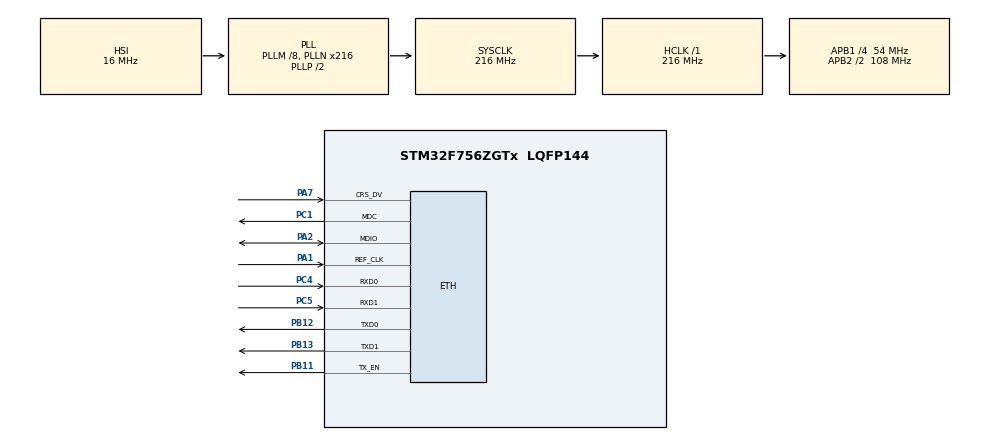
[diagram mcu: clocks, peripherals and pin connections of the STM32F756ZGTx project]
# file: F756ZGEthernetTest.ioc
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CORTEX_M7.CPU_DCache=Enabled
CORTEX_M7.CPU_ICache=Enabled
CORTEX_M7.PREFETCH_ENABLE=1
ETH.MediaInterface=HAL_ETH_RMII_MODE
LWIP.BSP.number=1
LWIP.GATEWAY_ADDRESS=192.168.010.001
LWIP.IP_ADDRESS=192.168.010.100
LWIP.LWIP_DHCP=0
LWIP.MEM_SIZE=10*1024
LWIP.NETMASK_ADDRESS=255.255.255.000
LWIP.Version=v2.1.2_Cube
LWIP0.BSP.STBoard=false
LWIP0.BSP.api=BSP_COMPONENT_DRIVER
LWIP0.BSP.component=LAN8742
LWIP0.BSP.instance=LAN8742
LWIP0.BSP.name=Driver_PHY
LWIP0.BSP.semaphore=S_LAN8742
LWIP0.BSP.solution=LAN8742
Mcu.Family=STM32F7
Mcu.Name=STM32F756ZGTx
Mcu.Package=LQFP144
NVIC.ETH_IRQn=true\:0\:0\:false\:false\:true\:true\:true\:true
NVIC.PriorityGroup=NVIC_PRIORITYGROUP_4
NVIC.TIM6_DAC_IRQn=true\:0\:0\:false\:false\:true\:true\:true\:true
PA1.Mode=RMII
PA1.Signal=ETH_REF_CLK
PA2.Mode=RMII
PA2.Signal=ETH_MDIO
PA7.Mode=RMII
PA7.Signal=ETH_CRS_DV
PB11.Mode=RMII
PB11.Signal=ETH_TX_EN
PB12.Mode=RMII
PB12.Signal=ETH_TXD0
PB13.Mode=RMII
PB13.Signal=ETH_TXD1
PC1.Mode=RMII
PC1.Signal=ETH_MDC
PC4.Mode=RMII
PC4.Signal=ETH_RXD0
PC5.Mode=RMII
PC5.Signal=ETH_RXD1
PH0/OSC_IN.Mode=HSE-External-Oscillator
PH0/OSC_IN.Signal=RCC_OSC_IN
PH1/OSC_OUT.Mode=HSE-External-Oscillator
PH1/OSC_OUT.Signal=RCC_OSC_OUT
ProjectManager.HeapSize=0x200
ProjectManager.StackSize=0x400
ProjectManager.TargetToolchain=STM32CubeIDE
RCC.AHBFreq_Value=216000000
RCC.APB1CLKDivider=RCC_HCLK_DIV4
RCC.APB1Freq_Value=54000000
RCC.APB1TimFreq_Value=108000000
RCC.APB2CLKDivider=RCC_HCLK_DIV2
RCC.APB2Freq_Value=108000000
RCC.APB2TimFreq_Value=216000000
RCC.CortexFreq_Value=216000000
RCC.HCLKFreq_Value=216000000
RCC.HSE_VALUE=25000000
RCC.HSI_VALUE=16000000
RCC.LSE_VALUE=32768
RCC.PLLM=8
RCC.PLLN=216
RCC.SYSCLKFreq_VALUE=216000000
RCC.SYSCLKSource=RCC_SYSCLKSOURCE_PLLCLK
RCC.USBFreq_Value=216000000
RCC.VCOOutputFreq_Value=432000000
TIM6.AutoReloadPreload=TIM_AUTORELOAD_PRELOAD_ENABLE
TIM6.Period=1000-1
TIM6.Prescaler=169
VP_LWIP_VS_Enabled.Mode=Enabled
VP_TIM6_VS_ClockSourceINT.Mode=Enable_Timer
board=custom

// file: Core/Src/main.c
/* USER CODE BEGIN Header */
/**
  ******************************************************************************
  * @file           : main.c
  * @brief          : Main program body
  ******************************************************************************
  * @attention
  *
  * Copyright (c) 2022 STMicroelectronics.
  * All rights reserved.
  *
  * This software is licensed under terms that can be found in the LICENSE file
  * in the root directory of this software component.
  * If no LICENSE file comes with this software, it is provided AS-IS.
  *
  ******************************************************************************
  */
/* USER CODE END Header */
#include "main.h"
#include "lwip.h"

/* USER CODE BEGIN Includes */
#include <stdio.h>
/* USER CODE END Includes */

TIM_HandleTypeDef htim6;

void SystemClock_Config(void);
static void MX_GPIO_Init(void);
static void MX_TIM6_Init(void);

/* USER CODE BEGIN 0 */

//struct netif gnetif;
void udp_receive_callback(void *arg, struct udp_pcb *upcb, struct pbuf *p, const ip_addr_t *addr, u16_t port)
{
	uint8_t buffer[100];
	uint32_t counter = 0;
	/* Copy the data from the pbuf */
	strncpy (buffer, (char *)p->payload, p->len);

	/*increment message count */
	counter++;

	/* Free receive pbuf */
	pbuf_free(p);
}

void udpClient_connect(void)
{
	err_t err;

	/* 1. Create a new UDP control block  */
	upcb = udp_new();

	/* Bind the block to module's IP and port */
	ip_addr_t myIPaddr;
	IP_ADDR4(&myIPaddr, 192, 168, 0, 111);
	udp_bind(upcb, &myIPaddr, 8);

	/* configure destination IP address and port */
	ip_addr_t DestIPaddr;
	IP_ADDR4(&DestIPaddr, 192, 168, 0, 102);
	err= udp_connect(upcb, &DestIPaddr, 7);

	if (err == ERR_OK)
	{
		/* 2. Send message to server */
		udpClient_send ();

		/* 3. Set a receive callback for the upcb */
		udp_recv(upcb, udp_receive_callback, NULL);
	}
}

static void udpClient_send(void)
{
  struct pbuf *txBuf;
  char data[100];

  int len = sprintf(data, "sending UDP client message %d", counter);

  /* allocate pbuf from pool*/
  txBuf = pbuf_alloc(PBUF_TRANSPORT, len, PBUF_RAM);

  if (txBuf != NULL)
  {
    /* copy data to pbuf */
    pbuf_take(txBuf, data, len);

    /* send udp data */
    udp_send(upcb, txBuf);

    /* free pbuf */
    pbuf_free(txBuf);
  }
}

void HAL_TIM_PeriodElapsedCallback(TIM_HandleTypeDef *htim)
{
	if(htim == &htim6){
		/*User Callback Code*/
		udpClient_send();
	}
}
/* USER CODE END 0 */

int main(void)
{

  /* Enable I-Cache---------------------------------------------------------*/
  SCB_EnableICache();

  /* Enable D-Cache---------------------------------------------------------*/
  SCB_EnableDCache();

  /* MCU Configuration--------------------------------------------------------*/

  /* Reset of all peripherals, Initializes the Flash interface and the Systick. */
  HAL_Init();

  /* Configure the system clock */
  SystemClock_Config();

  /* Initialize all configured peripherals */
  MX_GPIO_Init();
  MX_LWIP_Init();
  MX_TIM6_Init();
  /* USER CODE BEGIN 2 */
  HAL_TIM_Base_Start_IT(&htim6);
  /* USER CODE END 2 */

  /* Infinite loop */
  while (1)
  {

  }
}

void SystemClock_Config(void)
{
  RCC_OscInitTypeDef RCC_OscInitStruct = {0};
  RCC_ClkInitTypeDef RCC_ClkInitStruct = {0};

  /** Configure the main internal regulator output voltage
  */
  __HAL_RCC_PWR_CLK_ENABLE();
  __HAL_PWR_VOLTAGESCALING_CONFIG(PWR_REGULATOR_VOLTAGE_SCALE1);

  /** Initializes the RCC Oscillators according to the specified parameters
  * in the RCC_OscInitTypeDef structure.
  */
  RCC_OscInitStruct.OscillatorType = RCC_OSCILLATORTYPE_HSI;
  RCC_OscInitStruct.HSIState = RCC_HSI_ON;
  RCC_OscInitStruct.HSICalibrationValue = RCC_HSICALIBRATION_DEFAULT;
  RCC_OscInitStruct.PLL.PLLState = RCC_PLL_ON;
  RCC_OscInitStruct.PLL.PLLSource = RCC_PLLSOURCE_HSI;
  RCC_OscInitStruct.PLL.PLLM = 8;
  RCC_OscInitStruct.PLL.PLLN = 216;
  RCC_OscInitStruct.PLL.PLLP = RCC_PLLP_DIV2;
  RCC_OscInitStruct.PLL.PLLQ = 2;
  if (HAL_RCC_OscConfig(&RCC_OscInitStruct) != HAL_OK)
  {
    Error_Handler();
  }

  /** Activate the Over-Drive mode
  */
  if (HAL_PWREx_EnableOverDrive() != HAL_OK)
  {
    Error_Handler();
  }

  /** Initializes the CPU, AHB and APB buses clocks
  */
  RCC_ClkInitStruct.ClockType = RCC_CLOCKTYPE_HCLK|RCC_CLOCKTYPE_SYSCLK
                              |RCC_CLOCKTYPE_PCLK1|RCC_CLOCKTYPE_PCLK2;
  RCC_ClkInitStruct.SYSCLKSource = RCC_SYSCLKSOURCE_PLLCLK;
  RCC_ClkInitStruct.AHBCLKDivider = RCC_SYSCLK_DIV1;
  RCC_ClkInitStruct.APB1CLKDivider = RCC_HCLK_DIV4;
  RCC_ClkInitStruct.APB2CLKDivider = RCC_HCLK_DIV2;

  if (HAL_RCC_ClockConfig(&RCC_ClkInitStruct, FLASH_LATENCY_7) != HAL_OK)
  {
    Error_Handler();
  }
}

static void MX_TIM6_Init(void)
{

  TIM_MasterConfigTypeDef sMasterConfig = {0};

  htim6.Instance = TIM6;
  htim6.Init.Prescaler = 169;
  htim6.Init.CounterMode = TIM_COUNTERMODE_UP;
  htim6.Init.Period = 1000-1;
  htim6.Init.AutoReloadPreload = TIM_AUTORELOAD_PRELOAD_ENABLE;
  if (HAL_TIM_Base_Init(&htim6) != HAL_OK)
  {
    Error_Handler();
  }
  sMasterConfig.MasterOutputTrigger = TIM_TRGO_RESET;
  sMasterConfig.MasterSlaveMode = TIM_MASTERSLAVEMODE_DISABLE;
  if (HAL_TIMEx_MasterConfigSynchronization(&htim6, &sMasterConfig) != HAL_OK)
  {
    Error_Handler();
  }

}

static void MX_GPIO_Init(void)
{

  /* GPIO Ports Clock Enable */
  __HAL_RCC_GPIOH_CLK_ENABLE();
  __HAL_RCC_GPIOC_CLK_ENABLE();
  __HAL_RCC_GPIOA_CLK_ENABLE();
  __HAL_RCC_GPIOB_CLK_ENABLE();

}

void Error_Handler(void)
{
  __disable_irq();
  while (1)
  {
  }
}
